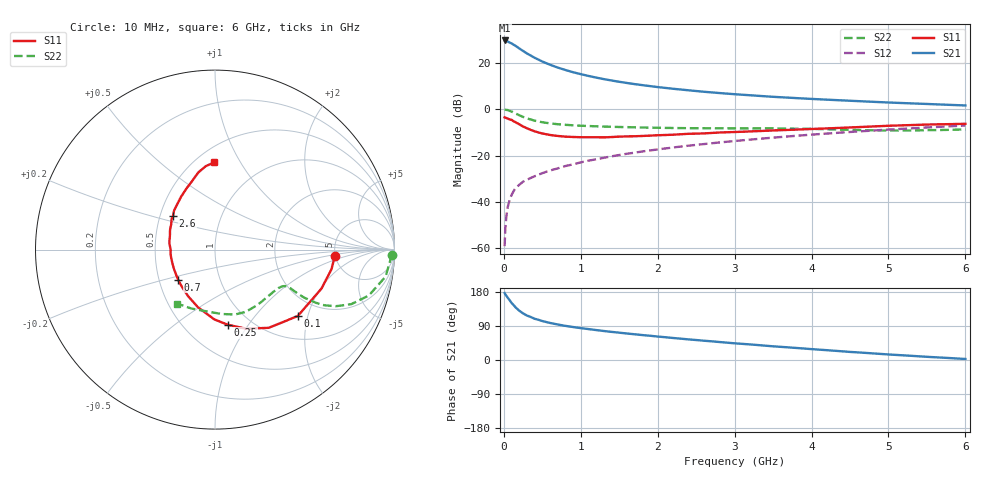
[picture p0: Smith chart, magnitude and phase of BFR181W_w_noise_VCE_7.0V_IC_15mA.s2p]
! Infineon Technologies  Discrete & RF Semiconductors
! BFR181W
! VCE =  7.0 V,  IC =  15 mA
! Common Emitter S-Parameters:  Jan 2017
# GHz  S  MA  R  50
!  f  S11  S21  S12  S22
! GHz  MAG  ANG  MAG  ANG  MAG  ANG  MAG  ANG
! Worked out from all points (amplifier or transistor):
!   77 points, 10 MHz to 6 GHz, reference 50 ohm
!   highest |S21| = 29.7 dB at 10 MHz (marker M1)
!   |S21| within 3 dB of that: start of sweep to 181.2 MHz
!   unconditionally stable (mu >= 1): 862.8 MHz to 2.769 GHz
!   at 130 MHz: K = 0.34, MSG = 31.5 dB, |S12| = -35.2 dB
!   at 2.2 GHz: K = 1.04, MAG = 11.5 dB, |S12| = -16.5 dB
!   at 6 GHz: K = 0.84, MSG = 4.3 dB, |S12| = -7.0 dB
!   lowest NFmin = 1.47 dB at 450 MHz
!   S11 on the Smith chart (normalised r, x): 10 MHz: 4.95, -0.62; 100 MHz: 1.52, -1.73; 250 MHz: 0.79, -0.81; 700 MHz: 0.63, -0.23; 2.6 GHz: 0.58, +0.24; 6 GHz: 0.61, +0.78
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0.01  0.6682 -3.0  30.72 176.7  0.0011 88.9  0.9878 -1.6
0.02  0.6585 -9.4  30.39 173.1  0.0028 102.9  0.9787 -3.4
0.05  0.6319 -20.1  29.22 164.5  0.0076 83.4  0.9625 -9.0
0.1  0.5912 -38.8  26.59 150.6  0.014 75.2  0.8946 -16.6
0.15  0.5287 -55.5  23.64 139.4  0.0196 69.1  0.8163 -21.9
0.2  0.4739 -68.5  20.68 130.1  0.0233 65.9  0.7434 -25.1
0.25  0.4248 -80.3  18.22 123.0  0.0273 64.3  0.6834 -27.0
0.3  0.3887 -90.6  16.09 117.3  0.0299 63.5  0.6349 -27.8
0.4  0.3346 -106.6  12.97 108.8  0.0357 63.9  0.5675 -28.3
0.5  0.2998 -119.9  10.75 102.8  0.0416 65.5  0.5246 -28.0
0.6  0.2785 -131.1  9.182 97.8  0.0475 65.5  0.4958 -27.6
0.7  0.2652 -140.9  7.977 93.7  0.0528 67.5  0.4759 -27.2
0.9  0.252 -156.3  6.324 87.0  0.0646 68.8  0.4504 -27.3
1.1  0.2486 -168.9  5.254 81.6  0.0775 69.8  0.4347 -27.9
1.3  0.2473 -179.8  4.485 76.5  0.0894 70.1  0.4232 -29.3
1.5  0.2566 172.3  3.928 72.1  0.1027 70.3  0.414 -31.1
2.1  0.278 152.7  2.896 60.1  0.1424 69.0  0.3962 -39.4
2.6  0.3008 140.9  2.392 50.9  0.177 66.9  0.3895 -48.2
3.1  0.3272 130.5  2.063 42.6  0.2134 64.0  0.3863 -57.1
4.1  0.3804 113.7  1.644 27.3  0.2908 57.1  0.3736 -75.1
5.1  0.4454 100.9  1.38 13.4  0.3717 48.6  0.347 -100.3
6  0.4854 90.6  1.209 2.7  0.4456 40.0  0.3679 -125.2
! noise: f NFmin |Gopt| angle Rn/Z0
0.45  1.47  0.04  14  0.21
0.9  1.52  0.04  31  0.21
1.9  1.95  0.13  -139  0.22
2.4  2.2  0.16  -109  0.28
